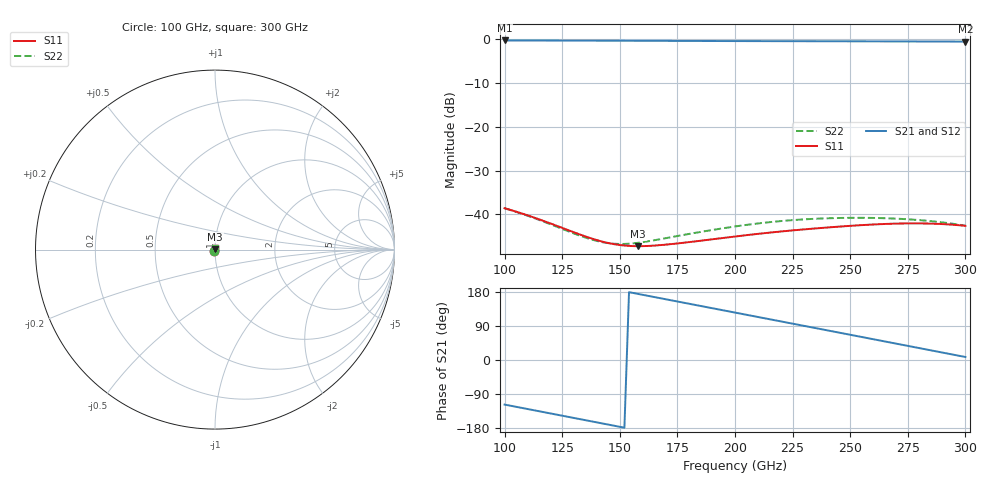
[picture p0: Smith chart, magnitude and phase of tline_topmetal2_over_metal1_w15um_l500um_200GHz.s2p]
#  GHZ S DB R 50
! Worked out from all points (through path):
!   101 points, 100 GHz to 300 GHz, reference 50 ohm
!   highest |S21| = -0.27 dB at 100 GHz (marker M1); lowest = -0.5 dB at 300 GHz (marker M2)
!   group delay of S21, straight-line fit = 3.25 ps
!   lowest |S11| = -47.3 dB at 158 GHz (marker M3), VSWR 1.01, Z = 50.2 + j0.399 ohm
!   |S11| at or under -10 dB: start of sweep to end of sweep
!   |S22| runs from -46.8 to -38.6 dB; largest |S21 - S12| = 1.1e-14
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100  -38.61 -132.2  -0.27 -117.7  -0.27 -117.7  -38.63 -132.6
108  -39.90 -147.9  -0.28 -127.0  -0.28 -127.0  -39.97 -148.5
118  -41.72 -169.7  -0.29 -138.8  -0.29 -138.8  -41.88 -171.0
126  -43.30 170.3  -0.30 -148.2  -0.30 -148.2  -43.54 168.0
134  -44.86 147.5  -0.31 -157.5  -0.31 -157.5  -45.13 143.3
146  -46.68 108.1  -0.33 -171.6  -0.33 -171.6  -46.66 100.0
158  -47.29 66.9  -0.34 174.3  -0.34 174.3  -46.51 56.9
168  -47.02 36.3  -0.36 162.6  -0.36 162.6  -45.65 27.1
176  -46.60 15.1  -0.37 153.2  -0.37 153.2  -44.87 7.2
184  -46.11 -4.0  -0.39 143.9  -0.39 143.9  -44.13 -10.4
200  -45.08 -39.2  -0.41 125.2  -0.41 125.2  -42.79 -42.3
210  -44.47 -61.2  -0.42 113.5  -0.42 113.5  -42.09 -62.0
218  -44.03 -79.3  -0.43 104.1  -0.43 104.1  -41.64 -78.0
226  -43.64 -97.7  -0.44 94.7  -0.44 94.7  -41.29 -94.3
234  -43.27 -116.3  -0.45 85.4  -0.45 85.4  -41.04 -110.8
242  -42.94 -134.9  -0.46 76.0  -0.46 76.0  -40.89 -127.4
250  -42.64 -153.3  -0.46 66.6  -0.46 66.6  -40.81 -144.1
258  -42.39 -171.4  -0.47 57.2  -0.47 57.2  -40.82 -160.8
268  -42.16 166.6  -0.49 45.5  -0.49 45.5  -40.96 178.2
284  -42.12 132.3  -0.51 26.7  -0.51 26.7  -41.51 144.4
292  -42.30 115.4  -0.52 17.3  -0.52 17.3  -41.98 127.2
300  -42.64 98.3  -0.53 7.9  -0.53 7.9  -42.60 109.4
